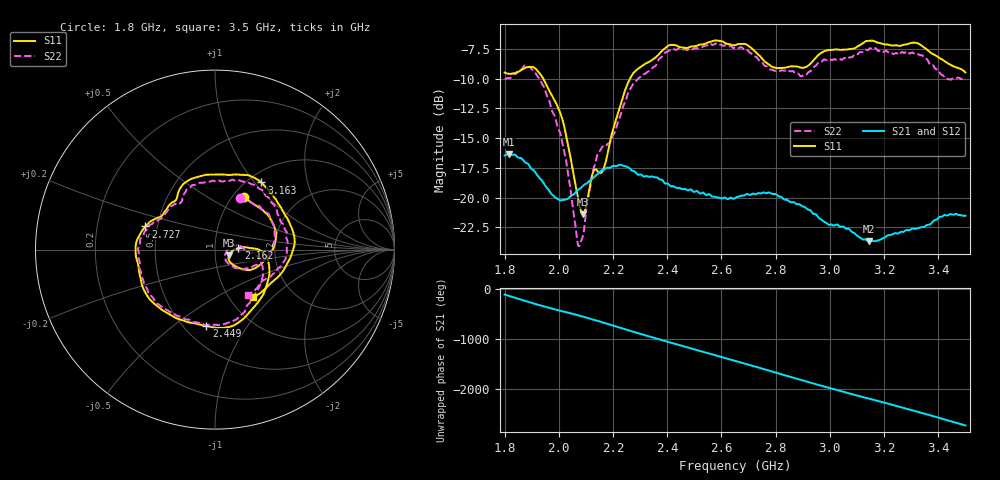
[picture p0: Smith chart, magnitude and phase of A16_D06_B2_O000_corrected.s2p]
! Created with skrf 1.9.0 (http://scikit-rf.org).
# Hz S RI R 50.0
!freq ReS11 ImS11 ReS21 ImS21 ReS12 ImS12 ReS22 ImS22
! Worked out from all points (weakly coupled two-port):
!   1601 points, 1.8 GHz to 3.5 GHz, reference 50 ohm
!   highest |S21| = -16.37 dB at 1.816 GHz (marker M1); lowest = -23.7 dB at 3.144 GHz (marker M2)
!   lowest |S11| = -21.4 dB at 2.09 GHz (marker M3), VSWR 1.19, Z = 58.4 - j3.75 ohm
!   |S11| at or under -10 dB: 1.943 GHz to 2.263 GHz (320.1 MHz wide, 15.2 % of centre)
!   |S22| runs from -24.1 to -7.0 dB; largest |S21 - S12| = 0.0026
!   S11 on the Smith chart (normalised r, x): 1.8 GHz: 1.13, +0.74; 2.162 GHz: 1.30, +0.02; 2.449 GHz: 0.64, -0.67; 2.727 GHz: 0.43, +0.13; 3.163 GHz: 1.15, +1.09; 3.5 GHz: 1.28, -0.76
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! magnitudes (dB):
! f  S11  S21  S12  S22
! 1.8 GHz  -9.5  -16.5  -16.5  -10.0
! 1.816 GHz  -9.6  -16.4  -16.4  -10.0
! 1.881 GHz  -9.0  -17.1  -17.1  -9.0
! 1.942 GHz  -10.0  -18.7  -18.7  -10.6
! 2.013 GHz  -13.4  -20.2  -20.2  -15.4
! 2.068 GHz  -19.7  -19.4  -19.4  -23.6
! 2.084 GHz  -21.2  -19.1  -19.1  -23.5
! 2.09 GHz  -21.4  -19.0  -19.0  -23.1
! 2.128 GHz  -17.8  -18.3  -18.3  -17.6
! 2.162 GHz  -17.7  -17.7  -17.6  -15.7
! 2.26 GHz  -10.1  -17.5  -17.5  -11.0
! 2.367 GHz  -8.0  -18.4  -18.3  -8.4
! 2.449 GHz  -7.4  -19.2  -19.2  -7.5
! 2.65 GHz  -7.2  -20.1  -20.0  -7.4
! 2.727 GHz  -7.8  -19.7  -19.7  -8.2
! 2.799 GHz  -9.1  -19.7  -19.7  -9.4
! 2.934 GHz  -8.6  -21.2  -21.2  -9.2
! 3.144 GHz  -6.8  -23.7  -23.6  -7.5
! 3.163 GHz  -6.8  -23.7  -23.6  -7.5
! 3.217 GHz  -7.2  -23.1  -23.1  -7.8
! 3.324 GHz  -7.0  -22.6  -22.5  -7.9
! 3.5 GHz  -9.5  -21.5  -21.5  -10.1
